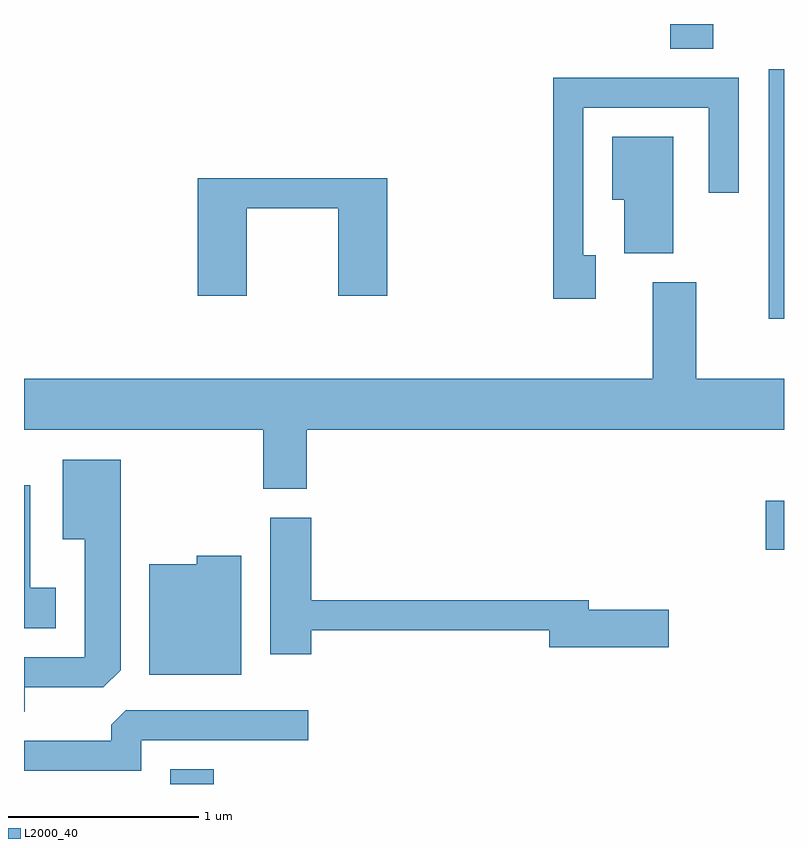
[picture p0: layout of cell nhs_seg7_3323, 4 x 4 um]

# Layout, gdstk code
import gdstk
lib = gdstk.Library(unit=1e-6, precision=1e-09)
def R(c, l, rs):  # rectangles x0, y0, x1, y1
    for r in rs: c.add(gdstk.rectangle(r[:2], r[2:], *l))
def P(c, l, *ps):  # polygons
    for p in ps: c.add(gdstk.Polygon(p, *l))
L2000_40 = (2000, 40)

nhs_seg7_3323 = lib.new_cell('nhs_seg7_3323')
R(nhs_seg7_3323, L2000_40, [(288.381,1690.252,288.609,1690.329), (291.516,1691.486,291.611,1691.744), (291.531,1692.701,291.611,1694.014), (291.011,1694.121,291.239,1694.252)])
P(nhs_seg7_3323, L2000_40, [(290.619,1693.034),(290.554,1693.034),(290.554,1693.811),(291.216,1693.811),(291.216,1693.363),(291.374,1693.363),(291.374,1693.969),(290.396,1693.969),(290.396,1692.806),(290.619,1692.806)],
  [(291.029,1693.659),(290.706,1693.659),(290.706,1693.326),(290.771,1693.326),(290.771,1693.046),(291.029,1693.046)],
  [(288.784,1693.281),(289.266,1693.281),(289.266,1692.821),(289.524,1692.821),(289.524,1693.439),(288.526,1693.439),(288.526,1692.821),(288.784,1692.821)],
  [(289.099,1692.116),(291.611,1692.116),(291.611,1692.384),(291.149,1692.384),(291.149,1692.894),(290.921,1692.894),(290.921,1692.384),(287.611,1692.384),(287.611,1692.116),(288.871,1692.116),(288.871,1691.806),(289.099,1691.806)],
  [(287.614,1690.761),(288.029,1690.761),(288.119,1690.852),(288.119,1691.959),(287.816,1691.959),(287.816,1691.541),(287.931,1691.541),(287.931,1690.919),(287.611,1690.919),(287.611,1690.631),(287.614,1690.631)],
  [(287.779,1691.284),(287.644,1691.284),(287.644,1691.824),(287.611,1691.824),(287.611,1691.071),(287.779,1691.071)],
  [(289.124,1691.061),(290.376,1691.061),(290.376,1690.971),(291.004,1690.971),(291.004,1691.169),(290.584,1691.169),(290.584,1691.219),(289.124,1691.219),(289.124,1691.654),(288.906,1691.654),(288.906,1690.936),(289.124,1690.936)],
  [(288.754,1691.454),(288.521,1691.454),(288.521,1691.409),(288.271,1691.409),(288.271,1690.826),(288.754,1690.826)],
  [(288.229,1690.481),(289.108,1690.481),(289.108,1690.639),(288.147,1690.639),(288.071,1690.564),(288.071,1690.479),(287.611,1690.479),(287.611,1690.321),(288.229,1690.321)])

lib.write_gds('nhs_seg7_3323.gds')
